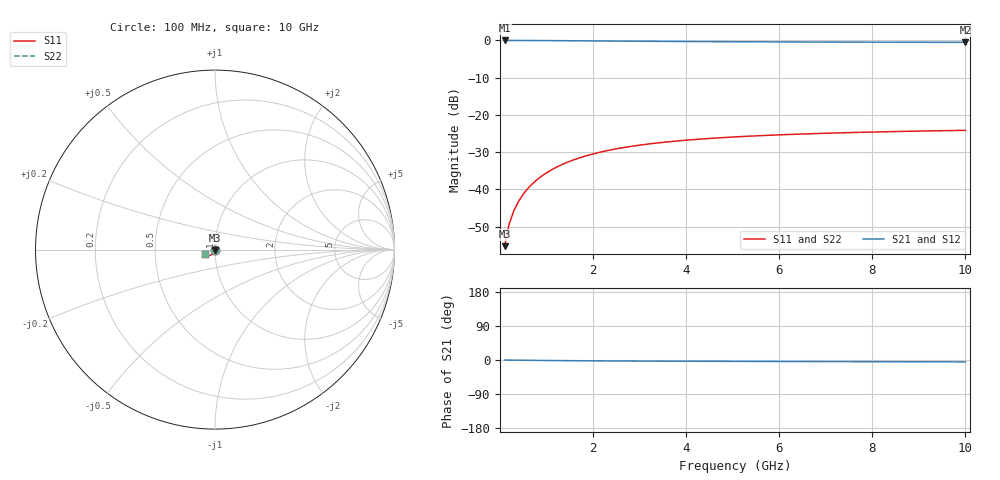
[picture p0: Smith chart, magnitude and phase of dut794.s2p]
! Touchstone file exported from HFSS 2024.1.0
!  File:  C:/UserFiles/LocalFiles/RDL_TSV_Batchsim/temp_TSV1_794_1779875811.aedt
!  Generated:  06:01:54 PM May 27, 2026
!  Design:  TSV1
!  Project:  temp_TSV1_794_1779875811
!  Setup:  Setup1
!  Solution:  Sweep
! Variables:
!  dtsv = 14.5um
!  hbump = 3um
!  htsv = 73.82um
!  lrdl = 252.1521522um
!  p = 40
!  p1 = 46.34um
!  t = 500um
!  trdl = 3um
!  wrdl = 24.89489489um
# GHz S MA R 50.000000
! Terminal data exported
! Port[1] = TSV22_T1
! Port[2] = TSV22_T2
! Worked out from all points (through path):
!   100 points, 100 MHz to 10 GHz, reference 50 ohm
!   highest |S21| = 0.00 dB at 100 MHz (marker M1); lowest = -0.5 dB at 10 GHz (marker M2)
!   lowest |S11| = -55.2 dB at 100 MHz (marker M3), VSWR 1.00, Z = 50 - j0.173 ohm
!   |S11| at or under -10 dB: start of sweep to end of sweep
!   |S22| runs from -55.2 to -24.1 dB; largest |S21 - S12| = 3.1e-15
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0.1  0.001731 -89.0  0.9999 -0.1  0.9999 -0.1  0.001731 -89.0
! Gamma 0 0 0 0
! Port Impedance 50 0 50 0
0.2  0.003474 -92.0  0.9997 -0.3  0.9997 -0.3  0.003474 -92.0
0.3  0.005207 -94.1  0.9995 -0.4  0.9995 -0.4  0.005207 -94.1
0.4  0.006924 -95.9  0.9991 -0.5  0.9991 -0.5  0.006924 -95.9
0.5  0.008623 -97.6  0.9987 -0.7  0.9987 -0.7  0.008623 -97.6
0.6  0.0103 -99.2  0.9981 -0.8  0.9981 -0.8  0.0103 -99.2
0.7  0.01195 -100.8  0.9975 -0.9  0.9975 -0.9  0.01195 -100.8
0.8  0.01357 -102.4  0.9969 -1.0  0.9969 -1.0  0.01357 -102.4
0.9  0.01515 -103.9  0.9961 -1.2  0.9961 -1.2  0.01515 -103.9
1.1  0.01822 -106.9  0.9945 -1.4  0.9945 -1.4  0.01822 -106.9
1.4  0.02251 -111.1  0.9917 -1.7  0.9917 -1.7  0.02251 -111.1
1.6  0.02517 -113.7  0.9897 -1.9  0.9897 -1.9  0.02517 -113.7
1.8  0.02765 -116.2  0.9876 -2.1  0.9876 -2.1  0.02765 -116.2
2.1  0.03106 -119.7  0.9846 -2.3  0.9846 -2.3  0.03106 -119.7
2.5  0.03507 -123.8  0.9806 -2.6  0.9806 -2.6  0.03507 -123.8
2.9  0.03852 -127.4  0.9768 -2.8  0.9768 -2.8  0.03852 -127.4
3.4  0.04218 -131.4  0.9724 -3.0  0.9724 -3.0  0.04218 -131.4
4.2  0.04686 -136.6  0.9663 -3.3  0.9663 -3.3  0.04686 -136.6
5.1  0.05089 -141.2  0.9607 -3.6  0.9607 -3.6  0.05089 -141.2
6.7  0.05601 -147.3  0.9532 -4.1  0.9532 -4.1  0.05601 -147.3
8.4  0.05969 -152.0  0.9476 -4.6  0.9476 -4.6  0.05969 -152.0
10  0.06213 -155.4  0.9439 -5.0  0.9439 -5.0  0.06213 -155.4
